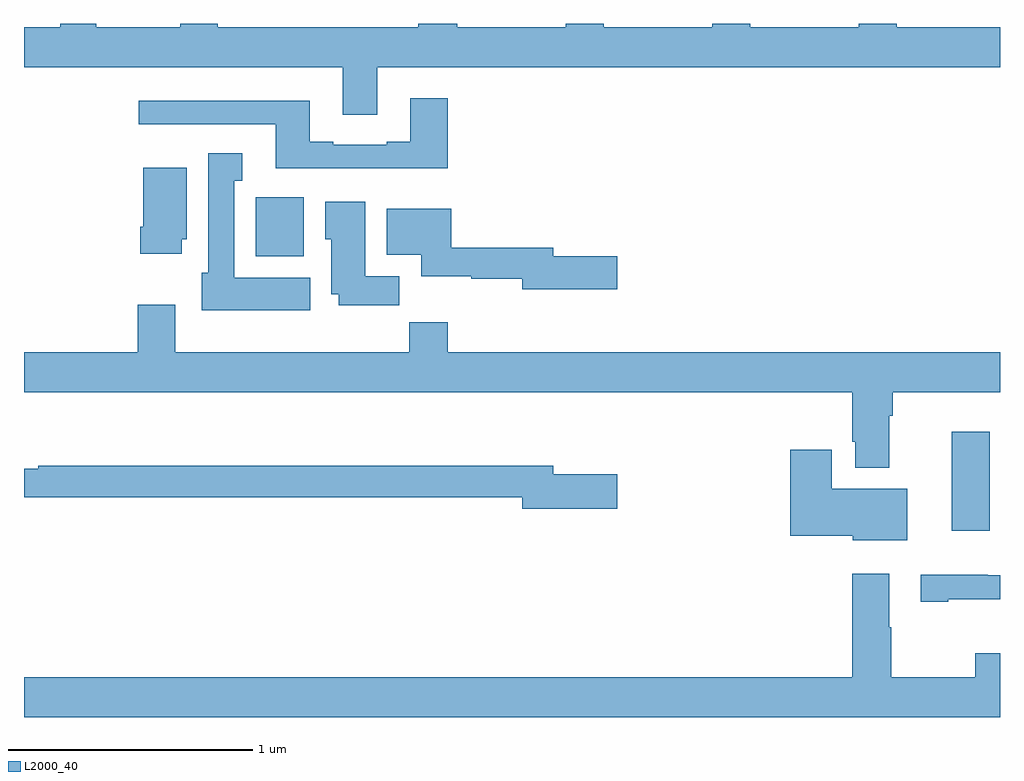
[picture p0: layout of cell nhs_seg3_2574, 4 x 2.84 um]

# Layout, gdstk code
import gdstk
lib = gdstk.Library(unit=1e-6, precision=1e-09)
def R(c, l, rs):  # rectangles x0, y0, x1, y1
    for r in rs: c.add(gdstk.rectangle(r[:2], r[2:], *l))
def P(c, l, *ps):  # polygons
    for p in ps: c.add(gdstk.Polygon(p, *l))
L2000_40 = (2000, 40)

nhs_seg3_2574 = lib.new_cell('nhs_seg3_2574')
R(nhs_seg3_2574, L2000_40, [(246.803,728.322,246.958,728.728), (243.95,729.446,244.147,729.688)])
P(nhs_seg3_2574, L2000_40, [(244.447,730.22),(247,730.22),(247,730.384),(246.576,730.384),(246.576,730.4),(246.421,730.4),(246.421,730.384),(245.976,730.384),(245.976,730.4),(245.821,730.4),(245.821,730.384),(245.376,730.384),(245.376,730.4),(245.221,730.4),(245.221,730.384),(244.776,730.384),(244.776,730.4),(244.616,730.4),(244.616,730.384),(243.794,730.384),(243.794,730.4),(243.641,730.4),(243.641,730.384),(243.297,730.384),(243.297,730.4),(243.149,730.4),(243.149,730.384),(243,730.384),(243,730.22),(244.307,730.22),(244.307,730.026),(244.447,730.026)],
  [(244.736,730.093),(244.583,730.093),(244.583,729.916),(244.487,729.916),(244.487,729.903),(244.267,729.903),(244.267,729.916),(244.171,729.916),(244.171,730.084),(243.471,730.084),(243.471,729.987),(244.031,729.987),(244.031,729.806),(244.736,729.806)],
  [(244.174,729.358),(243.862,729.358),(243.862,729.755),(243.895,729.755),(243.895,729.868),(243.755,729.868),(243.755,729.378),(243.728,729.378),(243.728,729.224),(244.174,729.224)],
  [(243.646,729.516),(243.667,729.516),(243.667,729.808),(243.488,729.808),(243.488,729.568),(243.476,729.568),(243.476,729.456),(243.646,729.456)],
  [(244.538,729.364),(244.399,729.364),(244.399,729.67),(244.235,729.67),(244.235,729.516),(244.259,729.516),(244.259,729.29),(244.289,729.29),(244.289,729.246),(244.538,729.246)],
  [(245.431,729.446),(245.17,729.446),(245.17,729.482),(244.751,729.482),(244.751,729.64),(244.487,729.64),(244.487,729.452),(244.628,729.452),(244.628,729.365),(244.834,729.365),(244.834,729.354),(245.042,729.354),(245.042,729.311),(245.431,729.311)],
  [(246.547,728.792),(246.56,728.792),(246.56,728.888),(247,728.888),(247,729.052),(244.736,729.052),(244.736,729.176),(244.579,729.176),(244.579,729.052),(243.619,729.052),(243.619,729.247),(243.467,729.247),(243.467,729.052),(243,729.052),(243,728.888),(246.395,728.888),(246.395,728.686),(246.407,728.686),(246.407,728.579),(246.547,728.579)],
  [(246.619,728.494),(246.31,728.494),(246.31,728.653),(246.14,728.653),(246.14,728.3),(246.396,728.3),(246.396,728.282),(246.619,728.282)],
  [(245.431,728.553),(245.17,728.553),(245.17,728.587),(243.058,728.587),(243.058,728.576),(243,728.576),(243,728.458),(245.042,728.458),(245.042,728.411),(245.431,728.411)],
  [(247,727.819),(246.898,727.819),(246.898,727.72),(246.555,727.72),(246.555,727.925),(246.547,727.925),(246.547,728.146),(246.395,728.146),(246.395,727.72),(243,727.72),(243,727.556),(247,727.556)],
  [(246.787,728.041),(247,728.041),(247,728.139),(246.95,728.139),(246.95,728.141),(246.675,728.141),(246.675,728.031),(246.787,728.031)])

lib.write_gds('nhs_seg3_2574.gds')
